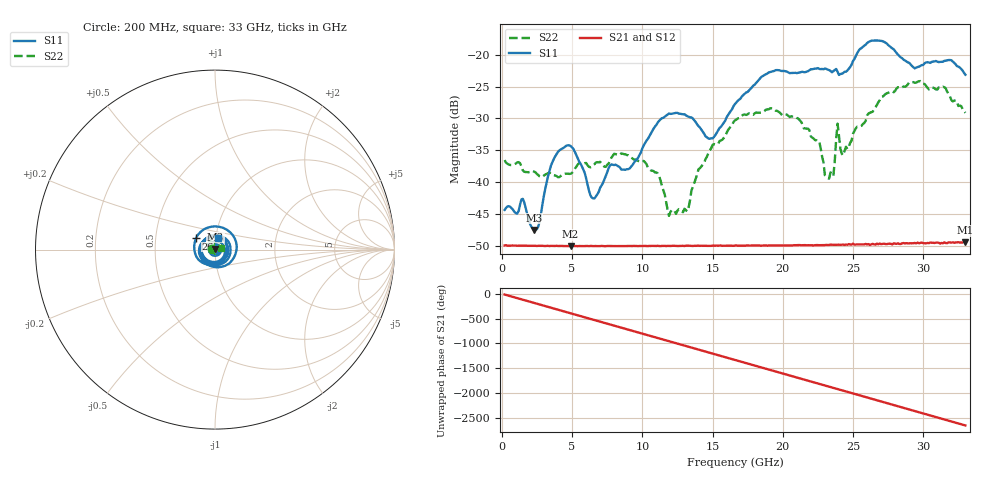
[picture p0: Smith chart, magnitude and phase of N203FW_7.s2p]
# GHZ S RI R 50
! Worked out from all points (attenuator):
!   329 points, 200 MHz to 33 GHz, reference 50 ohm
!   highest |S21| = -49.44 dB at 33 GHz (marker M1); lowest = -50.1 dB at 4.9 GHz (marker M2)
!   lowest |S11| = -47.5 dB at 2.3 GHz (marker M3), VSWR 1.01, Z = 50.1 + j0.394 ohm
!   |S11| at or under -10 dB: start of sweep to end of sweep
!   |S22| runs from -45.3 to -24.1 dB; largest |S21 - S12| = 8.8e-05
!   S11 on the Smith chart (normalised r, x): 200 MHz: 1.01, +0.00; 26 GHz: 0.80, +0.10; 33 GHz: 1.03, +0.14
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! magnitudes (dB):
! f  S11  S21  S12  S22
! 200 MHz  -44.4  -50.0  -49.9  -36.6
! 1.5 GHz  -42.6  -50.0  -50.0  -38.2
! 2.3 GHz  -47.5  -50.0  -50.0  -38.4
! 3.6 GHz  -36.9  -50.0  -50.0  -38.9
! 4.9 GHz  -34.3  -50.1  -50.1  -38.7
! 5.7 GHz  -37.5  -50.1  -50.0  -37.1
! 6.6 GHz  -42.6  -50.1  -50.1  -37.2
! 11.2 GHz  -30.4  -50.1  -50.0  -39.1
! 11.9 GHz  -29.2  -50.0  -50.0  -45.3
! 13.2 GHz  -29.6  -50.0  -50.0  -44.6
! 15 GHz  -33.1  -50.0  -50.0  -34.2
! 16.6 GHz  -27.7  -50.0  -50.0  -30.3
! 19.3 GHz  -22.6  -49.9  -50.0  -28.4
! 22.1 GHz  -22.3  -49.9  -49.9  -33.0
! 23.3 GHz  -22.4  -49.9  -49.9  -39.5
! 23.6 GHz  -22.6  -49.9  -49.9  -39.0
! 23.9 GHz  -22.7  -49.9  -49.9  -30.8
! 24.3 GHz  -22.9  -49.8  -49.8  -35.8
! 26 GHz  -18.2  -49.8  -49.8  -29.5
! 27.6 GHz  -18.7  -49.7  -49.7  -25.9
! 31.4 GHz  -21.1  -49.6  -49.5  -25.0
! 33 GHz  -23.1  -49.4  -49.5  -29.1
